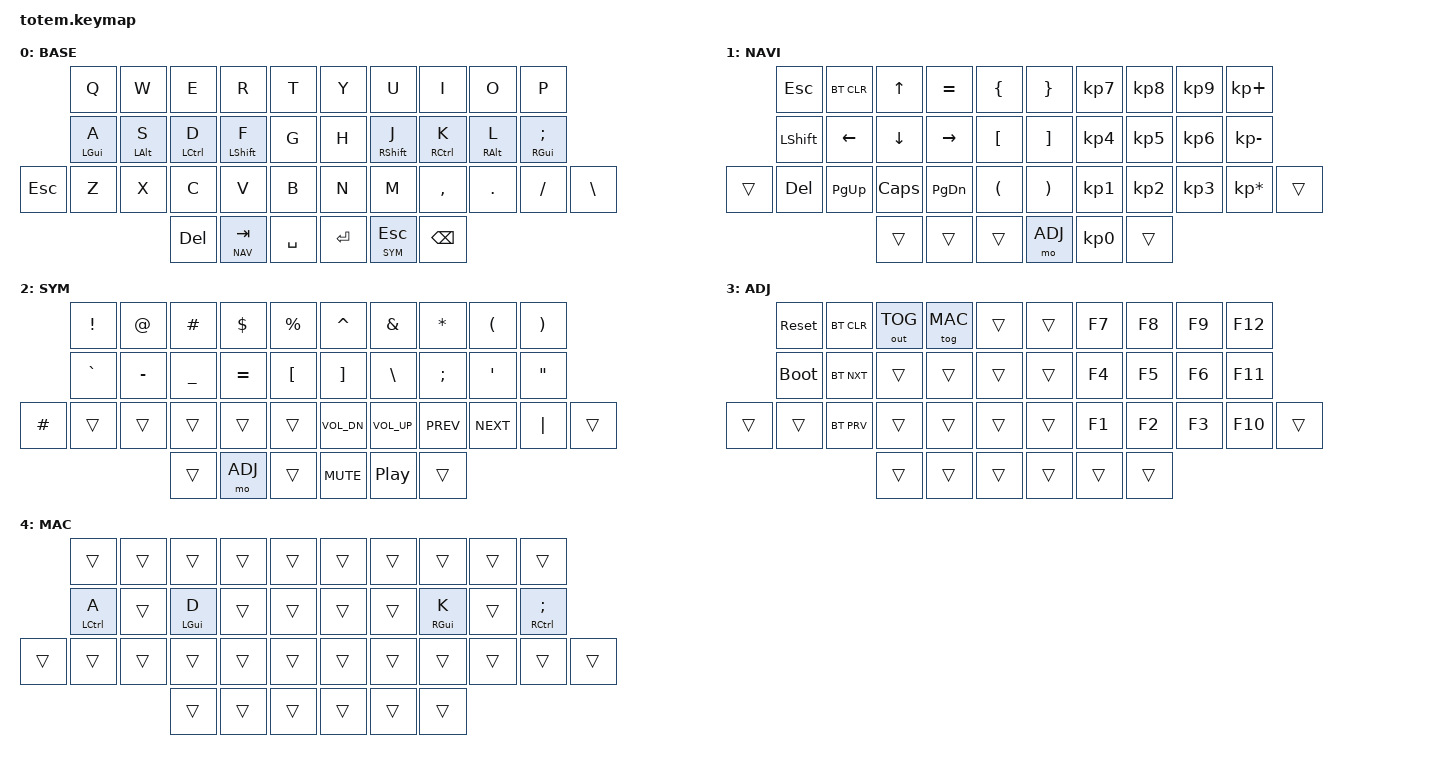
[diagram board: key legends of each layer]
//
//                                                        ▀▀▀▀▀     ▀▀▀▀▀          ▀▀█▀▀
//                                                        ▄▀▀▀▄  ▄  ▄▀▀▀▄  ▄  ▄▀▀▀▄  █  ▄▀▀▀▄
//                                                        █   █  █  █   █  █  █   █  █  █   █
//                                                         ▀▀▀   █   ▀▀▀   █   ▀▀▀   ▀   ▀▀▀
//                                                               █      ▄▄▄█▄▄▄    █   █  
//                                                               ▀      █  █  █     █▄█
//                                                             ▀▀▀▀▀    █  █  █      ▀
//                                                                      ▀  ▀  ▀
//
// ▄▄▄▄▄▄▄▄▄▄▄▄▄▄▄▄▄▄▄▄▄▄▄▄▄▄▄▄▄▄▄▄▄▄▄▄▄▄▄▄▄▄▄▄▄▄▄▄▄▄▄▄▄▄▄▄▄▄▄▄▄▄▄▄▄▄▄▄▄▄▄▄▄▄▄▄▄▄▄▄▄▄▄▄▄▄▄▄▄▄▄▄▄▄▄▄▄▄▄▄▄▄▄▄▄▄▄▄▄▄▄▄▄▄▄▄▄▄▄▄▄▄▄▄▄▄▄▄▄▄▄▄▄▄▄▄▄▄▄▄▄▄▄▄▄▄▄▄▄
       

#include <behaviors.dtsi>
#include <dt-bindings/zmk/keys.h>
#include <dt-bindings/zmk/bt.h>
#include <dt-bindings/zmk/outputs.h>

#define BASE 0
#define NAV  1
#define SYM  2
#define ADJ  3
#define MAC  4

&mt {
  quick-tap-ms = <100>;
  global-quick-tap;
  flavor = "tap-preferred";
  tapping-term-ms = <170>;
};

/ {
     combos {
            compatible = "zmk,combos";
            combo_esc {
                timeout-ms = <50>;
                key-positions = <0 1>;
                bindings = <&kp ESC>;
            };
    };

        keymap {
                compatible = "zmk,keymap";
// ▄▄▄▄▄▄▄▄▄▄▄▄▄▄▄▄▄▄▄▄▄▄▄▄▄▄▄▄▄▄▄▄▄▄▄▄▄▄▄▄▄▄▄▄▄▄▄▄▄▄▄▄▄▄▄▄▄▄▄▄▄▄▄▄▄▄▄▄▄▄▄▄▄▄▄▄▄▄▄▄▄▄▄▄▄▄▄▄▄▄▄▄▄▄▄▄▄▄▄▄▄▄▄▄▄▄▄▄▄▄▄▄▄▄▄▄▄▄▄▄▄▄▄▄▄▄▄▄▄▄▄▄▄▄▄▄▄▄▄▄▄▄▄▄▄▄▄▄▄

                base_layer {
// ┏━━━━━━━━━━━━━━━━━━━━━━━━━━━━━━━━━━━━━━━┓
display-name= "BASE"                              ;
// ┗━━━━━━━━━━━━━━━━━━━━━━━━━━━━━━━━━━━━━━━┛
//             ┏━━━━━━━━━━━┳━━━━━━━━━━━┳━━━━━━━━━━━┳━━━━━━━━━━━┳━━━━━━━━━━━┓   ┏━━━━━━━━━━━┳━━━━━━━━━━━┳━━━━━━━━━━━┳━━━━━━━━━━━┳━━━━━━━━━━━┓
//             ┃     Q     ┃     W     ┃     E     ┃     R     ┃     T     ┃   ┃     Y     ┃     U     ┃     I     ┃     O     ┃     P     ┃
//             ┣━━━━━━━━━━━╋━━━━━━━━━━━╋━━━━━━━━━━━╋━━━━━━━━━━━╋━━━━━━━━━━━┫   ┣━━━━━━━━━━━╋━━━━━━━━━━━╋━━━━━━━━━━━╋━━━━━━━━━━━╋━━━━━━━━━━━┫
//             ┃ GUI/  A   ┃ ALT/  S   ┃ CTRL/ D   ┃ SHFT/ F   ┃     G     ┃   ┃     H     ┃ SHFT/ J   ┃ CTRL/ K   ┃ ALT/  L   ┃ GUI/  ;   ┃
// ┏━━━━━━━━━━━╋━━━━━━━━━━━╋━━━━━━━━━━━╋━━━━━━━━━━━╋━━━━━━━━━━━╋━━━━━━━━━━━┫   ┣━━━━━━━━━━━╋━━━━━━━━━━━╋━━━━━━━━━━━╋━━━━━━━━━━━╋━━━━━━━━━━━╋━━━━━━━━━━━┓
// ┃    ESC    ┃     Z     ┃     X     ┃     C     ┃     V     ┃     B     ┃   ┃     N     ┃     M     ┃     ,     ┃     .     ┃     /     ┃     \     ┃
// ┗━━━━━━━━━━━┻━━━━━━━━━━━┻━━━━━━━━━━━╋━━━━━━━━━━━╋━━━━━━━━━━━╋━━━━━━━━━━━┫   ┣━━━━━━━━━━━╋━━━━━━━━━━━╋━━━━━━━━━━━╋━━━━━━━━━━━┻━━━━━━━━━━━┻━━━━━━━━━━━┛
//                                     ┃    DEL    ┃ NAV / TAB ┃    SPC    ┃   ┃   ENTER   ┃ SYM / ESC ┃   BSPC    ┃
//                                     ┗━━━━━━━━━━━┻━━━━━━━━━━━┻━━━━━━━━━━━┛   ┗━━━━━━━━━━━┻━━━━━━━━━━━┻━━━━━━━━━━━┛
 bindings = <
// ╷           ╷           ╷           ╷           ╷           ╷           ╷   ╷           ╷           ╷           ╷           ╷           ╷           ╷

                &kp Q       &kp W       &kp E       &kp R       &kp T           &kp Y       &kp U       &kp I       &kp O       &kp P
                &mt LGUI A  &mt LALT S  &mt LCTRL D &mt LSHFT F &kp G           &kp H       &mt RSHFT J &mt RCTRL K &mt RALT L  &mt RGUI SEMI
    &kp ESC     &kp Z       &kp X       &kp C       &kp V       &kp B           &kp N       &kp M       &kp COMMA   &kp DOT     &kp FSLH    &kp BSLH
                                        &kp DEL   &lt NAV TAB   &kp SPACE       &kp RET   &lt SYM ESC   &kp BSPC
                        >;
                };

// ▄▄▄▄▄▄▄▄▄▄▄▄▄▄▄▄▄▄▄▄▄▄▄▄▄▄▄▄▄▄▄▄▄▄▄▄▄▄▄▄▄▄▄▄▄▄▄▄▄▄▄▄▄▄▄▄▄▄▄▄▄▄▄▄▄▄▄▄▄▄▄▄▄▄▄▄▄▄▄▄▄▄▄▄▄▄▄▄▄▄▄▄▄▄▄▄▄▄▄▄▄▄▄▄▄▄▄▄▄▄▄▄▄▄▄▄▄▄▄▄▄▄▄▄▄▄▄▄▄▄▄▄▄▄▄▄▄▄▄▄▄▄▄▄▄▄▄▄▄


                nav_layer {
// ┏━━━━━━━━━━━━━━━━━━━━━━━━━━━━━━━━━━━━━━━┓
display-name= "NAVI"                              ;
// ┗━━━━━━━━━━━━━━━━━━━━━━━━━━━━━━━━━━━━━━━┛
//             ┏━━━━━━━━━━━┳━━━━━━━━━━━┳━━━━━━━━━━━┳━━━━━━━━━━━┳━━━━━━━━━━━┓   ┏━━━━━━━━━━━┳━━━━━━━━━━━┳━━━━━━━━━━━┳━━━━━━━━━━━┳━━━━━━━━━━━┓
//             ┃           ┃           ┃     UP    ┃           ┃     {     ┃   ┃     }     ┃     7     ┃     8     ┃     9     ┃     +     ┃
//             ┣━━━━━━━━━━━╋━━━━━━━━━━━╋━━━━━━━━━━━╋━━━━━━━━━━━╋━━━━━━━━━━━┫   ┣━━━━━━━━━━━╋━━━━━━━━━━━╋━━━━━━━━━━━╋━━━━━━━━━━━╋━━━━━━━━━━━┫
//             ┃   SHIFT   ┃   LEFT    ┃    DOWN   ┃   RIGHT   ┃     [     ┃   ┃     ]     ┃     4     ┃     5     ┃     6     ┃     -     ┃
// ┏━━━━━━━━━━━╋━━━━━━━━━━━╋━━━━━━━━━━━╋━━━━━━━━━━━╋━━━━━━━━━━━╋━━━━━━━━━━━┫   ┣━━━━━━━━━━━╋━━━━━━━━━━━╋━━━━━━━━━━━╋━━━━━━━━━━━╋━━━━━━━━━━━╋━━━━━━━━━━━┓
// ┃           ┃           ┃   P UP    ┃  C LOCK   ┃  P DOWN   ┃     (     ┃   ┃     )     ┃     1     ┃     2     ┃     3     ┃     *     ┃           ┃
// ┗━━━━━━━━━━━┻━━━━━━━━━━━┻━━━━━━━━━━━╋━━━━━━━━━━━╋━━━━━━━━━━━╋━━━━━━━━━━━┫   ┣━━━━━━━━━━━╋━━━━━━━━━━━╋━━━━━━━━━━━╋━━━━━━━━━━━┻━━━━━━━━━━━┻━━━━━━━━━━━┛
//                                     ┃           ┃    TAB    ┃    SPC    ┃   ┃    DEL    ┃     0     ┃           ┃
//                                     ┗━━━━━━━━━━━┻━━━━━━━━━━━┻━━━━━━━━━━━┛   ┗━━━━━━━━━━━┻━━━━━━━━━━━┻━━━━━━━━━━━┛
 bindings = <
// ╷           ╷           ╷           ╷           ╷           ╷           ╷   ╷           ╷           ╷           ╷           ╷           ╷           ╷

                &kp ESC     &bt BT_CLR  &kp UP      &kp EQUAL   &kp LBRC        &kp RBRC    &kp KP_N7   &kp KP_N8   &kp KP_N9   &kp KP_PLUS
                &kp LSHFT   &kp LEFT    &kp DOWN    &kp RIGHT   &kp LBKT        &kp RBKT    &kp KP_N4   &kp KP_N5   &kp KP_N6   &kp KP_MINUS
    &trans      &kp DEL     &kp PG_UP   &kp CAPS    &kp PG_DN   &kp LPAR        &kp RPAR    &kp KP_N1   &kp KP_N2   &kp KP_N3   &kp KP_MULTIPLY &trans      
                                        &trans      &trans      &trans          &mo ADJ     &kp KP_N0   &trans      
                        >;
                };

// ▄▄▄▄▄▄▄▄▄▄▄▄▄▄▄▄▄▄▄▄▄▄▄▄▄▄▄▄▄▄▄▄▄▄▄▄▄▄▄▄▄▄▄▄▄▄▄▄▄▄▄▄▄▄▄▄▄▄▄▄▄▄▄▄▄▄▄▄▄▄▄▄▄▄▄▄▄▄▄▄▄▄▄▄▄▄▄▄▄▄▄▄▄▄▄▄▄▄▄▄▄▄▄▄▄▄▄▄▄▄▄▄▄▄▄▄▄▄▄▄▄▄▄▄▄▄▄▄▄▄▄▄▄▄▄▄▄▄▄▄▄▄▄▄▄▄▄▄▄


                sim_layer {
// ┏━━━━━━━━━━━━━━━━━━━━━━━━━━━━━━━━━━━━━━━┓
display-name= "SYM"                               ;
// ┗━━━━━━━━━━━━━━━━━━━━━━━━━━━━━━━━━━━━━━━┛
//             ┏━━━━━━━━━━━┳━━━━━━━━━━━┳━━━━━━━━━━━┳━━━━━━━━━━━┳━━━━━━━━━━━┓   ┏━━━━━━━━━━━┳━━━━━━━━━━━┳━━━━━━━━━━━┳━━━━━━━━━━━┳━━━━━━━━━━━┓
//             ┃     !     ┃     @     ┃     #     ┃     $     ┃     %     ┃   ┃     ^     ┃     &     ┃     *     ┃     (     ┃     )     ┃
//             ┣━━━━━━━━━━━╋━━━━━━━━━━━╋━━━━━━━━━━━╋━━━━━━━━━━━╋━━━━━━━━━━━┫   ┣━━━━━━━━━━━╋━━━━━━━━━━━╋━━━━━━━━━━━╋━━━━━━━━━━━╋━━━━━━━━━━━┫
//             ┃     `     ┃     -     ┃     _     ┃     =     ┃     [     ┃   ┃     ]     ┃     \     ┃     ;     ┃     '     ┃     "     ┃
// ┏━━━━━━━━━━━╋━━━━━━━━━━━╋━━━━━━━━━━━╋━━━━━━━━━━━╋━━━━━━━━━━━╋━━━━━━━━━━━┫   ┣━━━━━━━━━━━╋━━━━━━━━━━━╋━━━━━━━━━━━╋━━━━━━━━━━━╋━━━━━━━━━━━╋━━━━━━━━━━━┓
// ┃     £     ┃           ┃           ┃           ┃           ┃           ┃   ┃   VOL-    ┃   VOL+    ┃   PREV    ┃   NEXT    ┃     |     ┃           ┃
// ┗━━━━━━━━━━━┻━━━━━━━━━━━┻━━━━━━━━━━━╋━━━━━━━━━━━╋━━━━━━━━━━━╋━━━━━━━━━━━┫   ┣━━━━━━━━━━━╋━━━━━━━━━━━╋━━━━━━━━━━━╋━━━━━━━━━━━┻━━━━━━━━━━━┻━━━━━━━━━━━┛
//                                     ┃           ┃    ADJ    ┃           ┃   ┃   MUTE    ┃  PLAY/PAUSE┃           ┃
//                                     ┗━━━━━━━━━━━┻━━━━━━━━━━━┻━━━━━━━━━━━┛   ┗━━━━━━━━━━━┻━━━━━━━━━━━┻━━━━━━━━━━━┛
 bindings = <
// ╷           ╷           ╷           ╷           ╷           ╷           ╷   ╷           ╷           ╷           ╷           ╷           ╷           ╷

                &kp EXCL    &kp AT      &kp HASH    &kp DLLR    &kp PRCNT       &kp CARET   &kp AMPS    &kp STAR    &kp LPAR    &kp RPAR
                &kp GRAVE   &kp MINUS   &kp UNDER   &kp EQUAL   &kp LBKT        &kp RBKT    &kp BSLH    &kp SEMI    &kp SQT     &kp DQT
    &kp POUND  &trans      &trans      &trans      &trans      &trans          &kp C_VOL_DN &kp C_VOL_UP &kp C_PREV &kp C_NEXT  &kp PIPE    &trans
                                        &trans      &mo ADJ     &trans          &kp C_MUTE  &kp C_PP    &trans
                        >;
                };

// ▄▄▄▄▄▄▄▄▄▄▄▄▄▄▄▄▄▄▄▄▄▄▄▄▄▄▄▄▄▄▄▄▄▄▄▄▄▄▄▄▄▄▄▄▄▄▄▄▄▄▄▄▄▄▄▄▄▄▄▄▄▄▄▄▄▄▄▄▄▄▄▄▄▄▄▄▄▄▄▄▄▄▄▄▄▄▄▄▄▄▄▄▄▄▄▄▄▄▄▄▄▄▄▄▄▄▄▄▄▄▄▄▄▄▄▄▄▄▄▄▄▄▄▄▄▄▄▄▄▄▄▄▄▄▄▄▄▄▄▄▄▄▄▄▄▄▄▄▄


                adjust_layer {
// ┏━━━━━━━━━━━━━━━━━━━━━━━━━━━━━━━━━━━━━━━┓
display-name= "ADJ"                               ;
// ┗━━━━━━━━━━━━━━━━━━━━━━━━━━━━━━━━━━━━━━━┛
//             ┏━━━━━━━━━━━┳━━━━━━━━━━━┳━━━━━━━━━━━┳━━━━━━━━━━━┳━━━━━━━━━━━┓   ┏━━━━━━━━━━━┳━━━━━━━━━━━┳━━━━━━━━━━━┳━━━━━━━━━━━┳━━━━━━━━━━━┓
//             ┃   RESET   ┃ BT CLEAR  ┃  OUT TOG  ┃  MAC TOG  ┃           ┃   ┃           ┃    F7     ┃    F8     ┃    F9     ┃    F12    ┃
//             ┣━━━━━━━━━━━╋━━━━━━━━━━━╋━━━━━━━━━━━╋━━━━━━━━━━━╋━━━━━━━━━━━┫   ┣━━━━━━━━━━━╋━━━━━━━━━━━╋━━━━━━━━━━━╋━━━━━━━━━━━╋━━━━━━━━━━━┫
//             ┃ BOOTLOAD  ┃ BT NEXT   ┃           ┃           ┃           ┃   ┃           ┃    F4     ┃    F5     ┃    F6     ┃    F11    ┃
// ┏━━━━━━━━━━━╋━━━━━━━━━━━╋━━━━━━━━━━━╋━━━━━━━━━━━╋━━━━━━━━━━━╋━━━━━━━━━━━┫   ┣━━━━━━━━━━━╋━━━━━━━━━━━╋━━━━━━━━━━━╋━━━━━━━━━━━╋━━━━━━━━━━━╋━━━━━━━━━━━┓
// ┃           ┃           ┃ BT PREV   ┃           ┃           ┃           ┃   ┃           ┃    F1     ┃    F2     ┃    F3     ┃    F10    ┃           ┃
// ┗━━━━━━━━━━━┻━━━━━━━━━━━┻━━━━━━━━━━━╋━━━━━━━━━━━╋━━━━━━━━━━━╋━━━━━━━━━━━┫   ┣━━━━━━━━━━━╋━━━━━━━━━━━╋━━━━━━━━━━━╋━━━━━━━━━━━┻━━━━━━━━━━━┻━━━━━━━━━━━┛
//                                     ┃           ┃           ┃           ┃   ┃           ┃           ┃           ┃
//                                     ┗━━━━━━━━━━━┻━━━━━━━━━━━┻━━━━━━━━━━━┛   ┗━━━━━━━━━━━┻━━━━━━━━━━━┻━━━━━━━━━━━┛
 bindings = <
// ╷           ╷           ╷           ╷           ╷           ╷           ╷   ╷           ╷           ╷           ╷           ╷           ╷           ╷

                &sys_reset  &bt BT_CLR &out OUT_TOG &tog MAC    &trans          &trans      &kp F7      &kp F8      &kp F9      &kp F12
                &bootloader &bt BT_NXT  &trans      &trans      &trans          &trans      &kp F4      &kp F5      &kp F6      &kp F11  
    &trans      &trans      &bt BT_PRV  &trans      &trans      &trans          &trans      &kp F1      &kp F2      &kp F3      &kp F10     &trans         
                                        &trans      &trans      &trans          &trans      &trans      &trans      
                        >;
                };

// ▄▄▄▄▄▄▄▄▄▄▄▄▄▄▄▄▄▄▄▄▄▄▄▄▄▄▄▄▄▄▄▄▄▄▄▄▄▄▄▄▄▄▄▄▄▄▄▄▄▄▄▄▄▄▄▄▄▄▄▄▄▄▄▄▄▄▄▄▄▄▄▄▄▄▄▄▄▄▄▄▄▄▄▄▄▄▄▄▄▄▄▄▄▄▄▄▄▄▄▄▄▄▄▄▄▄▄▄▄▄▄▄▄▄▄▄▄▄▄▄▄▄▄▄▄▄▄▄▄▄▄▄▄▄▄▄▄▄▄▄▄▄▄▄▄▄▄▄▄


                mac_layer {
// ┏━━━━━━━━━━━━━━━━━━━━━━━━━━━━━━━━━━━━━━━┓
display-name= "MAC"                               ;
// ┗━━━━━━━━━━━━━━━━━━━━━━━━━━━━━━━━━━━━━━━┛
// Swaps GUI and CTRL on home row when Mac mode is toggled on (see KEYMAP_GUIDE.md).
//             ┏━━━━━━━━━━━┳━━━━━━━━━━━┳━━━━━━━━━━━┳━━━━━━━━━━━┳━━━━━━━━━━━┓   ┏━━━━━━━━━━━┳━━━━━━━━━━━┳━━━━━━━━━━━┳━━━━━━━━━━━┳━━━━━━━━━━━┓
//             ┃           ┃           ┃           ┃           ┃           ┃   ┃           ┃           ┃           ┃           ┃           ┃
//             ┣━━━━━━━━━━━╋━━━━━━━━━━━╋━━━━━━━━━━━╋━━━━━━━━━━━╋━━━━━━━━━━━┫   ┣━━━━━━━━━━━╋━━━━━━━━━━━╋━━━━━━━━━━━╋━━━━━━━━━━━╋━━━━━━━━━━━┫
//             ┃ CTRL/ A   ┃           ┃ GUI / D   ┃           ┃           ┃   ┃           ┃           ┃ GUI / K   ┃           ┃ CTRL/ ;   ┃
// ┏━━━━━━━━━━━╋━━━━━━━━━━━╋━━━━━━━━━━━╋━━━━━━━━━━━╋━━━━━━━━━━━╋━━━━━━━━━━━┫   ┣━━━━━━━━━━━╋━━━━━━━━━━━╋━━━━━━━━━━━╋━━━━━━━━━━━╋━━━━━━━━━━━╋━━━━━━━━━━━┓
// ┃           ┃           ┃           ┃           ┃           ┃           ┃   ┃           ┃           ┃           ┃           ┃           ┃           ┃
// ┗━━━━━━━━━━━┻━━━━━━━━━━━┻━━━━━━━━━━━╋━━━━━━━━━━━╋━━━━━━━━━━━╋━━━━━━━━━━━┫   ┣━━━━━━━━━━━╋━━━━━━━━━━━╋━━━━━━━━━━━╋━━━━━━━━━━━┻━━━━━━━━━━━┻━━━━━━━━━━━┛
//                                     ┃           ┃           ┃           ┃   ┃           ┃           ┃           ┃
//                                     ┗━━━━━━━━━━━┻━━━━━━━━━━━┻━━━━━━━━━━━┛   ┗━━━━━━━━━━━┻━━━━━━━━━━━┻━━━━━━━━━━━┛
 bindings = <
// ╷           ╷           ╷           ╷           ╷           ╷           ╷   ╷           ╷           ╷           ╷           ╷           ╷           ╷

                &trans      &trans      &trans      &trans      &trans          &trans      &trans      &trans      &trans      &trans
                &mt LCTRL A &trans      &mt LGUI D  &trans      &trans          &trans      &trans      &mt RGUI K  &trans      &mt RCTRL SEMI
    &trans      &trans      &trans      &trans      &trans      &trans          &trans      &trans      &trans      &trans      &trans      &trans
                                        &trans      &trans      &trans          &trans      &trans      &trans
                        >;
                };
        };
};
